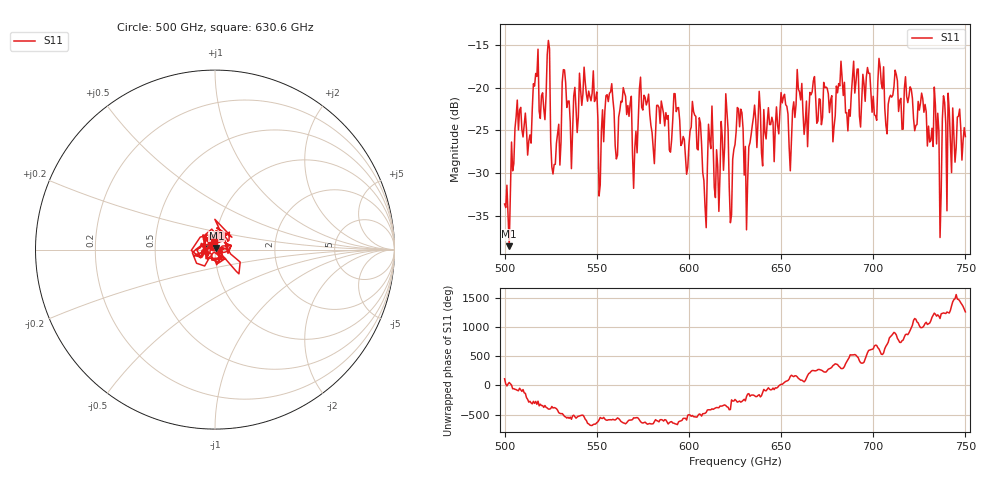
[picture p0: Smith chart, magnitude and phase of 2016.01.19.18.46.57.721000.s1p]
!Created with skrf (http://scikit-rf.org).
# GHz S RI R 50.0
!freq ReS11 ImS11
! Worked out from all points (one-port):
!   401 points, 500 GHz to 750 GHz, reference 50 ohm
!   lowest |S11| = -38.6 dB at 502.5 GHz (marker M1), VSWR 1.02, Z = 50.7 + j0.932 ohm
!   |S11| at or under -10 dB: start of sweep to end of sweep
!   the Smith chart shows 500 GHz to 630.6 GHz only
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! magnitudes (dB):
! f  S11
! 500 GHz  -33.6
! 502.5 GHz  -38.6
! 506.9 GHz  -21.4
! 513.1 GHz  -26.3
! 516.9 GHz  -18.3
! 523.8 GHz  -14.4
! 526.2 GHz  -30.1
! 531.2 GHz  -19.3
! 562.5 GHz  -22.7
! 570.6 GHz  -27.1
! 574.4 GHz  -22.3
! 580.6 GHz  -27.0
! 593.8 GHz  -22.3
! 598.8 GHz  -30.1
! 602.5 GHz  -22.8
! 608.8 GHz  -34.0
! 611.9 GHz  -27.1
! 615 GHz  -27.3
! 620 GHz  -20.7
! 623.1 GHz  -34.9
! 625 GHz  -26.7
! 631.2 GHz  -36.7
! 656.2 GHz  -22.6
! 687.5 GHz  -23.3
! 718.8 GHz  -21.7
! 734.4 GHz  -26.6
! 735.6 GHz  -25.1
! 750 GHz  -25.7
